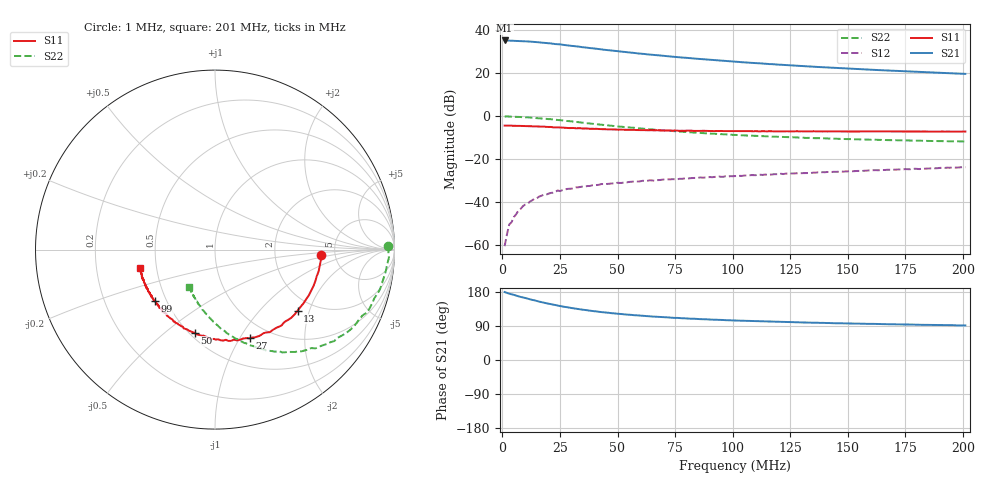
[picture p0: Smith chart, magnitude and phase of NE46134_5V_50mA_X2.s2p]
# MHz S RI R 50
! S-Parameters data
! Freq  reS11  imS11  reS21  imS21  reS12  imS12  reS22  imS22
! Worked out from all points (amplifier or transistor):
!   201 points, 1 MHz to 201 MHz, reference 50 ohm
!   highest |S21| = 35.1 dB at 1 MHz (marker M1)
!   |S21| within 3 dB of that: start of sweep to 33.92 MHz
!   unconditionally stable (mu >= 1): nowhere
!   at 34 MHz: K = 0.34, MSG = 32.6 dB, |S12| = -33.1 dB
!   at 101 MHz: K = 0.73, MSG = 26.7 dB, |S12| = -28.1 dB
!   at 201 MHz: K = 0.93, MSG = 21.8 dB, |S12| = -23.9 dB
!   S11 on the Smith chart (normalised r, x): 1 MHz: 3.87, -0.34; 13 MHz: 1.65, -1.67; 27 MHz: 0.80, -1.10; 50 MHz: 0.53, -0.64; 99 MHz: 0.43, -0.31; 201 MHz: 0.40, -0.10
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1  0.5917 -0.0289  -57.18 0.6484  0.000274 0.000877  0.963 0.0201
3  0.5839 -0.0891  -56.51 4.867  0.000394 0.00292  0.9592 -0.0828
5  0.5661 -0.1503  -55.89 7.92  0.000735 0.00431  0.9426 -0.1494
8  0.5354 -0.2304  -53.96 13.1  0.00119 0.00674  0.9084 -0.2411
10  0.5084 -0.2758  -52.49 15.45  0.00193 0.00836  0.8781 -0.2938
13  0.4605 -0.3404  -49.61 19.37  0.00301 0.0104  0.8227 -0.3662
16  0.4063 -0.392  -46.54 22.61  0.00396 0.0126  0.7689 -0.4331
19  0.3449 -0.4345  -43.18 25  0.00478 0.0137  0.7043 -0.4806
25  0.2251 -0.4879  -36.75 28.26  0.00712 0.0162  0.583 -0.5395
27  0.1929 -0.4945  -34.45 28.62  0.00775 0.0171  0.536 -0.5485
33  0.0891 -0.5084  -28.82 29.46  0.0101 0.0191  0.4253 -0.5705
35  0.0607 -0.5023  -26.89 29.14  0.0108 0.0199  0.3921 -0.5718
42  -0.0361 -0.4917  -21.7 28.71  0.0124 0.0214  0.2874 -0.5631
50  -0.1132 -0.464  -17.16 27.15  0.0144 0.0236  0.1994 -0.5346
57  -0.1739 -0.4391  -13.91 25.75  0.0156 0.0249  0.1375 -0.5105
68  -0.2341 -0.3948  -10.36 23.49  0.0172 0.0268  0.066 -0.4643
82  -0.2951 -0.3438  -7.11 20.83  0.0192 0.0298  0.00351 -0.4119
99  -0.3334 -0.2866  -4.798 18.08  0.0203 0.0336  -0.0466 -0.3613
101  -0.3422 -0.2791  -4.497 17.77  0.02 0.0341  -0.0494 -0.3574
135  -0.3885 -0.2012  -2.065 13.85  0.0222 0.042  -0.1043 -0.2855
168  -0.4077 -0.1441  -0.894 11.33  0.0245 0.0496  -0.1286 -0.2396
201  -0.4181 -0.1036  -0.1948 9.524  0.0264 0.0578  -0.1435 -0.2082
